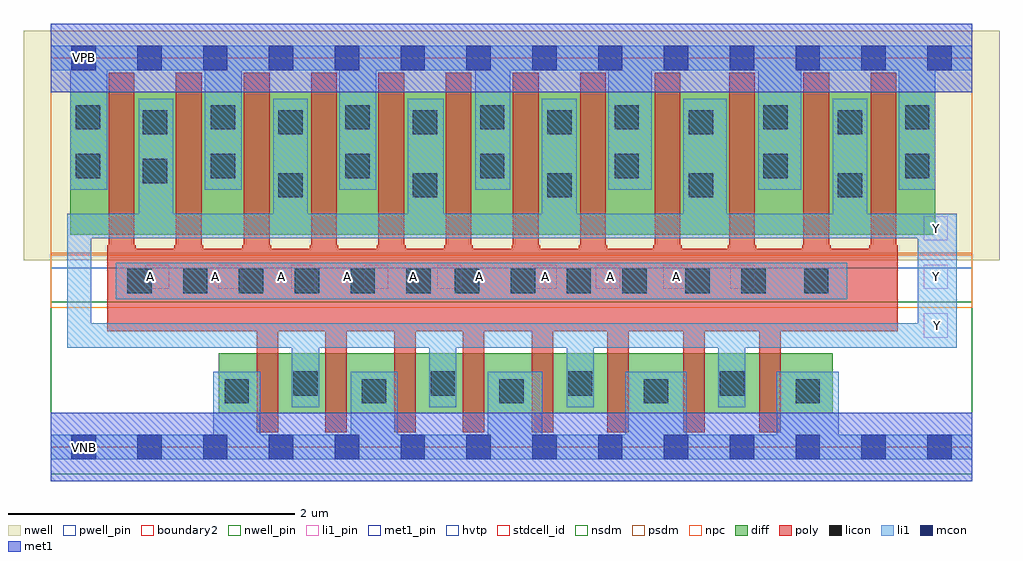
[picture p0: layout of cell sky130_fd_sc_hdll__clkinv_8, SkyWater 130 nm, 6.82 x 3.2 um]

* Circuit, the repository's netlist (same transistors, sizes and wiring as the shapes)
* Copyright 2020 The SkyWater PDK Authors
*
* Licensed under the Apache License, Version 2.0 (the "License");
* you may not use this file except in compliance with the License.
* You may obtain a copy of the License at
*
*     https://www.apache.org/licenses/LICENSE-2.0
*
* Unless required by applicable law or agreed to in writing, software
* distributed under the License is distributed on an "AS IS" BASIS,
* WITHOUT WARRANTIES OR CONDITIONS OF ANY KIND, either express or implied.
* See the License for the specific language governing permissions and
* limitations under the License.
*
* SPDX-License-Identifier: Apache-2.0

.SUBCKT sky130_fd_sc_hdll__clkinv_8 A VGND VNB VPB VPWR Y
*.PININFO A:I VGND:I VNB:I VPB:I VPWR:I Y:O
MMIN0 Y A VGND VNB sky130_fd_pr__nfet_01v8 m=8 w=0.42U l=0.15U mult=1 sa=0.265
+ sb=0.265 sd=0.28 area=0.063 perim=1.14
MMIP0 Y A VPWR VPB sky130_fd_pr__pfet_01v8_hvt m=12 w=1.0U l=0.18U mult=1 sa=0.265
+ sb=0.265 sd=0.28 area=0.063 perim=1.14
.ENDS sky130_fd_sc_hdll__clkinv_8

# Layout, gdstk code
import gdstk
lib = gdstk.Library(unit=1e-6, precision=1e-09)
def R(c, l, rs):  # rectangles x0, y0, x1, y1
    for r in rs: c.add(gdstk.rectangle(r[:2], r[2:], *l))
def A(c, l, x, y, w, h, nx, ny, dx, dy):  # array of equal rectangles
    R(c, l, [(x+i*dx, y+j*dy, x+i*dx+w, y+j*dy+h) for i in range(nx) for j in range(ny)])
def P(c, l, *ps):  # polygons
    for p in ps: c.add(gdstk.Polygon(p, *l))
nwell_pin = (64, 16)
nwell = (64, 20)
diff = (65, 20)
poly = (66, 20)
licon = (66, 44)
li1_pin = (67, 16)
li1 = (67, 20)
mcon = (67, 44)
met1_pin = (68, 16)
met1 = (68, 20)
hvtp = (78, 44)
stdcell_id = (81, 4)
nsdm = (93, 44)
psdm = (94, 20)
npc = (95, 20)
pwell_pin = (122, 16)
boundary2 = (236, 0)

sky130_fd_sc_hdll__clkin = lib.new_cell('sky130_fd_sc_hdll__clkinv_8')
R(sky130_fd_sc_hdll__clkin, nwell_pin, [(0.15,2.635,0.32,2.805)])
R(sky130_fd_sc_hdll__clkin, nwell, [(-0.19,1.305,6.63,2.91)])
R(sky130_fd_sc_hdll__clkin, diff, [(1.175,0.235,5.465,0.655), (0.135,1.485,6.18,2.485)])
P(sky130_fd_sc_hdll__clkin, poly, [(5.92,1.41),(5.91,1.41),(5.91,2.615),(5.73,2.615),(5.73,1.41),(5.72,1.41),(5.72,1.385),(5.45,1.385),(5.45,1.41),(5.44,1.41),(5.44,2.615),(5.26,2.615),(5.26,1.41),(5.25,1.41),(5.25,1.385),(4.93,1.385),(4.93,1.41),(4.92,1.41),(4.92,2.615),(4.74,2.615),(4.74,1.41),(4.73,1.41),(4.73,1.385),(4.41,1.385),(4.41,1.41),(4.4,1.41),(4.4,2.615),(4.22,2.615),(4.22,1.41),(4.21,1.41),(4.21,1.385),(3.89,1.385),(3.89,1.41),(3.88,1.41),(3.88,2.615),(3.7,2.615),(3.7,1.41),(3.69,1.41),(3.69,1.385),(3.42,1.385),(3.42,1.41),(3.41,1.41),(3.41,2.615),(3.23,2.615),(3.23,1.41),(3.22,1.41),(3.22,1.385),(2.95,1.385),(2.95,1.41),(2.94,1.41),(2.94,2.615),(2.76,2.615),(2.76,1.41),(2.75,1.41),(2.75,1.385),(2.48,1.385),(2.48,1.41),(2.47,1.41),(2.47,2.615),(2.29,2.615),(2.29,1.41),(2.28,1.41),(2.28,1.385),(2.01,1.385),(2.01,1.41),(2,1.41),(2,2.615),(1.82,2.615),(1.82,1.41),(1.81,1.41),(1.81,1.385),(1.54,1.385),(1.54,1.41),(1.53,1.41),(1.53,2.615),(1.35,2.615),(1.35,1.41),(1.34,1.41),(1.34,1.385),(1.065,1.385),(1.065,1.41),(1.055,1.41),(1.055,2.615),(0.875,2.615),(0.875,1.41),(0.865,1.41),(0.865,1.385),(0.595,1.385),(0.595,1.41),(0.585,1.41),(0.585,2.615),(0.405,2.615),(0.405,1.41),(0.395,1.41),(0.395,0.81),(1.44,0.81),(1.44,0.105),(1.59,0.105),(1.59,0.81),(1.92,0.81),(1.92,0.105),(2.07,0.105),(2.07,0.81),(2.4,0.81),(2.4,0.105),(2.55,0.105),(2.55,0.81),(2.88,0.81),(2.88,0.105),(3.03,0.105),(3.03,0.81),(3.36,0.81),(3.36,0.105),(3.51,0.105),(3.51,0.81),(3.89,0.81),(3.89,0.105),(4.04,0.105),(4.04,0.81),(4.42,0.81),(4.42,0.105),(4.57,0.105),(4.57,0.81),(4.95,0.81),(4.95,0.105),(5.1,0.105),(5.1,0.81),(5.92,0.81)])
A(sky130_fd_sc_hdll__clkin, licon, 1.215, 0.305, 0.17, 0.17, 3, 1, 0.96, 0)
A(sky130_fd_sc_hdll__clkin, licon, 1.695, 0.36, 0.17, 0.17, 3, 1, 0.96, 0)
A(sky130_fd_sc_hdll__clkin, licon, 0.535, 1.075, 0.17, 0.17, 6, 1, 0.39, 0)
A(sky130_fd_sc_hdll__clkin, licon, 2.825, 1.075, 0.17, 0.17, 4, 1, 0.39, 0)
A(sky130_fd_sc_hdll__clkin, licon, 1.59, 1.745, 0.17, 0.17, 3, 2, 0.94, 0.44)
A(sky130_fd_sc_hdll__clkin, licon, 1.12, 1.88, 0.17, 0.17, 4, 2, 0.94, 0.34)
R(sky130_fd_sc_hdll__clkin, licon, [(4.145,0.305,4.315,0.475), (5.205,0.305,5.375,0.475), (4.675,0.36,4.845,0.53), (4.435,1.075,4.605,1.245), (4.825,1.075,4.995,1.245), (5.265,1.075,5.435,1.245), (4.46,1.745,4.63,1.915), (5.5,1.745,5.67,1.915), (0.645,1.845,0.815,2.015), (0.175,1.88,0.345,2.05), (4.98,1.88,5.15,2.05), (5.97,1.88,6.14,2.05), (0.645,2.185,0.815,2.355), (4.46,2.185,4.63,2.355), (5.5,2.185,5.67,2.355), (0.175,2.22,0.345,2.39), (4.98,2.22,5.15,2.39), (5.97,2.22,6.14,2.39)])
A(sky130_fd_sc_hdll__clkin, li1_pin, 6.1, 0.765, 0.17, 0.17, 1, 3, 0, 0.34)
A(sky130_fd_sc_hdll__clkin, li1_pin, 0.66, 1.105, 0.17, 0.17, 5, 1, 0.51, 0)
A(sky130_fd_sc_hdll__clkin, li1_pin, 3.81, 1.105, 0.17, 0.17, 3, 1, 0.47, 0)
R(sky130_fd_sc_hdll__clkin, li1_pin, [(3.365,1.105,3.535,1.275)])
R(sky130_fd_sc_hdll__clkin, li1, [(0.455,1.035,5.565,1.29)])
P(sky130_fd_sc_hdll__clkin, li1, [(6.44,2.805),(0,2.805),(0,2.635),(0.135,2.635),(0.135,1.8),(0.395,1.8),(0.395,2.635),(1.075,2.635),(1.075,1.8),(1.335,1.8),(1.335,2.635),(2.015,2.635),(2.015,1.8),(2.275,1.8),(2.275,2.635),(2.965,2.635),(2.965,1.8),(3.21,1.8),(3.21,2.635),(3.895,2.635),(3.895,1.8),(4.2,1.8),(4.2,2.635),(4.945,2.635),(4.945,1.8),(5.245,1.8),(5.245,2.635),(5.925,2.635),(5.925,1.8),(6.18,1.8),(6.18,2.635),(6.44,2.635)],
  [(6.44,0.085),(5.505,0.085),(5.505,0.525),(5.075,0.525),(5.075,0.085),(4.445,0.085),(4.445,0.525),(4.015,0.525),(4.015,0.085),(3.435,0.085),(3.435,0.525),(3.055,0.525),(3.055,0.085),(2.425,0.085),(2.425,0.525),(2.095,0.525),(2.095,0.085),(1.465,0.085),(1.465,0.525),(1.135,0.525),(1.135,0.085),(0,0.085),(0,-0.085),(6.44,-0.085)],
  [(6.33,1.63),(6.06,1.63),(6.06,0.865),(0.285,0.865),(0.285,1.46),(6.06,1.46),(6.06,1.63),(5.705,1.63),(5.705,2.435),(5.465,2.435),(5.465,1.63),(4.725,1.63),(4.725,2.435),(4.42,2.435),(4.42,1.63),(3.675,1.63),(3.675,2.435),(3.43,2.435),(3.43,1.63),(2.745,1.63),(2.745,2.435),(2.495,2.435),(2.495,1.63),(1.795,1.63),(1.795,2.435),(1.555,2.435),(1.555,1.63),(0.855,1.63),(0.855,2.435),(0.615,2.435),(0.615,1.63),(0.115,1.63),(0.115,0.695),(1.685,0.695),(1.685,0.28),(1.875,0.28),(1.875,0.695),(2.645,0.695),(2.645,0.28),(2.835,0.28),(2.835,0.695),(3.605,0.695),(3.605,0.28),(3.795,0.28),(3.795,0.695),(4.665,0.695),(4.665,0.28),(4.855,0.28),(4.855,0.695),(6.33,0.695)])
A(sky130_fd_sc_hdll__clkin, mcon, 0.145, -0.085, 0.17, 0.17, 14, 2, 0.46, 2.72)
R(sky130_fd_sc_hdll__clkin, met1_pin, [(0.15,-0.085,0.32,0.085), (0.15,2.635,0.32,2.805)])
R(sky130_fd_sc_hdll__clkin, met1, [(0,-0.24,6.44,0.24), (0,2.48,6.44,2.96)])
R(sky130_fd_sc_hdll__clkin, hvtp, [(0,1.25,6.44,2.72)])
R(sky130_fd_sc_hdll__clkin, stdcell_id, [(0,0,6.44,2.72)])
R(sky130_fd_sc_hdll__clkin, nsdm, [(0,-0.19,6.44,1.015)])
R(sky130_fd_sc_hdll__clkin, psdm, [(0,1.355,6.44,2.91)])
R(sky130_fd_sc_hdll__clkin, npc, [(0,0.975,6.44,1.345)])
R(sky130_fd_sc_hdll__clkin, pwell_pin, [(0.15,-0.085,0.32,0.085)])
R(sky130_fd_sc_hdll__clkin, boundary2, [(0,0,6.44,2.72)])
sky130_fd_sc_hdll__clkin.add(gdstk.Label('Y', (6.19,1.53), layer=67, texttype=5))
sky130_fd_sc_hdll__clkin.add(gdstk.Label('Y', (6.19,1.19), layer=67, texttype=5))
sky130_fd_sc_hdll__clkin.add(gdstk.Label('Y', (6.195,0.85), layer=67, texttype=5))
sky130_fd_sc_hdll__clkin.add(gdstk.Label('A', (2.535,1.19), layer=67, texttype=5))
sky130_fd_sc_hdll__clkin.add(gdstk.Label('A', (2.075,1.19), layer=67, texttype=5))
sky130_fd_sc_hdll__clkin.add(gdstk.Label('A', (1.615,1.19), layer=67, texttype=5))
sky130_fd_sc_hdll__clkin.add(gdstk.Label('A', (1.155,1.19), layer=67, texttype=5))
sky130_fd_sc_hdll__clkin.add(gdstk.Label('A', (4.375,1.19), layer=67, texttype=5))
sky130_fd_sc_hdll__clkin.add(gdstk.Label('A', (3.915,1.19), layer=67, texttype=5))
sky130_fd_sc_hdll__clkin.add(gdstk.Label('A', (3.455,1.19), layer=67, texttype=5))
sky130_fd_sc_hdll__clkin.add(gdstk.Label('A', (2.995,1.19), layer=67, texttype=5))
sky130_fd_sc_hdll__clkin.add(gdstk.Label('A', (0.695,1.19), layer=67, texttype=5))
sky130_fd_sc_hdll__clkin.add(gdstk.Label('VNB', (0.235,0), layer=64, texttype=59))
sky130_fd_sc_hdll__clkin.add(gdstk.Label('VPB', (0.235,2.72), layer=64, texttype=5))
sky130_fd_sc_hdll__clkin.add(gdstk.Label('VGND', (0.23,0), layer=68, texttype=5))
sky130_fd_sc_hdll__clkin.add(gdstk.Label('VPWR', (0.23,2.72), layer=68, texttype=5))
sky130_fd_sc_hdll__clkin.add(gdstk.Label('clkinv_8', (0,0), layer=83, texttype=44))

lib.write_gds('sky130_fd_sc_hdll__clkinv_8.gds')
